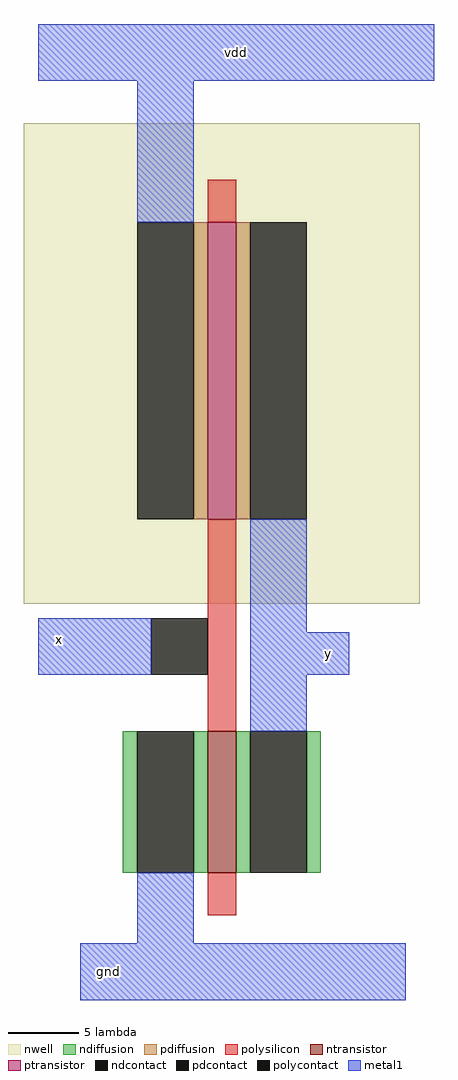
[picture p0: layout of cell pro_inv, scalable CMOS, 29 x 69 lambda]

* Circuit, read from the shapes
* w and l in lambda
.subckt pro_inv gnd vdd x y
M1 y x gnd VSUBS nfet w=10 l=2
M2 y x vdd n1 pfet w=21 l=2
.ends

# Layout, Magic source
magic
tech scmos
<< nwell >>
rect -10 -7 18 27
<< ntransistor >>
rect 3 -26 5 -16
<< ptransistor >>
rect 3 -1 5 20
<< ndiffusion >>
rect -3 -26 -2 -16
rect 2 -26 3 -16
rect 5 -26 6 -16
rect 10 -26 11 -16
<< pdiffusion >>
rect 2 -1 3 20
rect 5 -1 6 20
<< ndcontact >>
rect -2 -26 2 -16
rect 6 -26 10 -16
<< pdcontact >>
rect -2 -1 2 20
rect 6 -1 10 20
<< polysilicon >>
rect 3 20 5 23
rect 3 -16 5 -1
rect 3 -29 5 -26
<< polycontact >>
rect -1 -12 3 -8
<< metal1 >>
rect -9 30 19 34
rect -2 20 2 30
rect -9 -12 -1 -8
rect 6 -9 10 -1
rect 6 -12 13 -9
rect 6 -16 10 -12
rect -2 -31 2 -26
rect -6 -35 17 -31
<< labels >>
rlabel metal1 10 -12 13 -9 1 y
rlabel metal1 -9 -11 -6 -8 3 x
rlabel metal1 -5 -35 -3 -31 1 gnd
rlabel metal1 2 30 8 34 5 vdd
<< end >>
